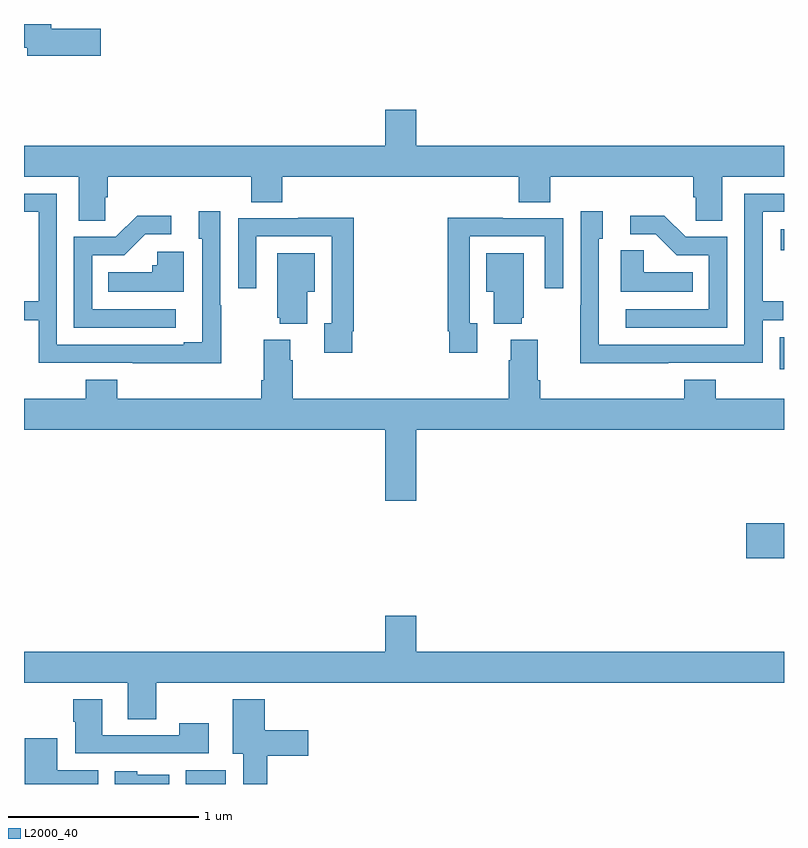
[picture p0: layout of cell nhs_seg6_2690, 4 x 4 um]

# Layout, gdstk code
import gdstk
lib = gdstk.Library(unit=1e-6, precision=1e-09)
def R(c, l, rs):  # rectangles x0, y0, x1, y1
    for r in rs: c.add(gdstk.rectangle(r[:2], r[2:], *l))
def P(c, l, *ps):  # polygons
    for p in ps: c.add(gdstk.Polygon(p, *l))
L2000_40 = (2000, 40)

nhs_seg6_2690 = lib.new_cell('nhs_seg6_2690')
R(nhs_seg6_2690, L2000_40, [(271.85,917.5,272.062,917.572), (274.8,918.689,275,918.872), (274.977,919.683,275,919.851), (274.983,920.309,275,920.419)])
P(nhs_seg6_2690, L2000_40, [(271.405,921.476),(271.144,921.476),(271.144,921.5),(271,921.5),(271,921.376),(271.016,921.376),(271.016,921.334),(271.405,921.334)],
  [(271.428,920.587),(271.442,920.587),(271.442,920.696),(272.195,920.696),(272.195,920.563),(272.36,920.563),(272.36,920.696),(273.605,920.696),(273.605,920.563),(273.77,920.563),(273.77,920.696),(274.523,920.696),(274.523,920.587),(274.536,920.587),(274.536,920.464),(274.675,920.464),(274.675,920.696),(275,920.696),(275,920.86),(273.064,920.86),(273.064,921.049),(272.9,921.049),(272.9,920.86),(271,920.86),(271,920.696),(271.289,920.696),(271.289,920.464),(271.428,920.464)],
  [(274.391,919.716),(274.887,919.716),(274.887,919.941),(274.997,919.941),(274.997,920.042),(274.887,920.042),(274.887,920.511),(275,920.511),(275,920.607),(274.791,920.607),(274.791,919.812),(274.026,919.812),(274.026,920.37),(274.045,920.37),(274.045,920.515),(273.93,920.515),(273.93,920.021),(273.928,920.021),(273.928,919.715),(274.391,919.715)],
  [(272.037,920.021),(272.034,920.021),(272.034,920.515),(271.919,920.515),(271.919,920.37),(271.938,920.37),(271.938,919.825),(271.841,919.825),(271.841,919.812),(271.173,919.812),(271.173,920.607),(271,920.607),(271,920.511),(271.077,920.511),(271.077,920.042),(271,920.042),(271,919.941),(271.077,919.941),(271.077,919.716),(271.573,919.716),(271.573,919.715),(272.037,919.715)],
  [(274.701,920.379),(274.482,920.379),(274.369,920.492),(274.191,920.492),(274.191,920.394),(274.325,920.394),(274.436,920.283),(274.605,920.283),(274.605,919.998),(274.167,919.998),(274.167,919.902),(274.701,919.902)],
  [(271.798,919.998),(271.359,919.998),(271.359,920.283),(271.528,920.283),(271.639,920.394),(271.774,920.394),(271.774,920.492),(271.595,920.492),(271.482,920.379),(271.263,920.379),(271.263,919.902),(271.798,919.902)],
  [(272.728,919.882),(272.735,919.882),(272.735,920.48),(272.443,920.48),(272.443,920.478),(272.127,920.478),(272.127,920.109),(272.223,920.109),(272.223,920.382),(272.619,920.382),(272.619,919.926),(272.579,919.926),(272.579,919.77),(272.728,919.77)],
  [(273.385,919.926),(273.345,919.926),(273.345,920.382),(273.741,920.382),(273.741,920.109),(273.837,920.109),(273.837,920.478),(273.521,920.478),(273.521,920.48),(273.229,920.48),(273.229,919.882),(273.237,919.882),(273.237,919.77),(273.385,919.77)],
  [(274.52,920.194),(274.263,920.194),(274.263,920.309),(274.142,920.309),(274.142,920.09),(274.52,920.09)],
  [(271.84,920.302),(271.701,920.302),(271.701,920.229),(271.675,920.229),(271.675,920.194),(271.444,920.194),(271.444,920.09),(271.84,920.09)],
  [(272.491,920.09),(272.53,920.09),(272.53,920.293),(272.333,920.293),(272.333,919.953),(272.345,919.953),(272.345,919.922),(272.491,919.922)],
  [(273.62,919.953),(273.631,919.953),(273.631,920.293),(273.434,920.293),(273.434,920.09),(273.473,920.09),(273.473,919.922),(273.62,919.922)],
  [(273.064,919.364),(275,919.364),(275,919.528),(274.64,919.528),(274.64,919.627),(274.475,919.627),(274.475,919.528),(273.716,919.528),(273.716,919.624),(273.703,919.624),(273.703,919.837),(273.563,919.837),(273.563,919.73),(273.551,919.73),(273.551,919.528),(272.414,919.528),(272.414,919.73),(272.401,919.73),(272.401,919.837),(272.261,919.837),(272.261,919.624),(272.249,919.624),(272.249,919.528),(271.49,919.528),(271.49,919.627),(271.325,919.627),(271.325,919.528),(271,919.528),(271,919.364),(272.9,919.364),(272.9,918.99),(273.064,918.99)],
  [(271.695,918.032),(275,918.032),(275,918.196),(273.064,918.196),(273.064,918.385),(272.9,918.385),(272.9,918.196),(271,918.196),(271,918.032),(271.547,918.032),(271.547,917.842),(271.695,917.842)],
  [(271.972,917.821),(271.816,917.821),(271.816,917.757),(271.411,917.757),(271.411,917.947),(271.259,917.947),(271.259,917.827),(271.271,917.827),(271.271,917.661),(271.972,917.661)],
  [(272.279,917.648),(272.497,917.648),(272.497,917.782),(272.266,917.782),(272.266,917.947),(272.099,917.947),(272.099,917.66),(272.153,917.66),(272.153,917.5),(272.279,917.5)],
  [(271.39,917.572),(271.174,917.572),(271.174,917.74),(271.004,917.74),(271.004,917.5),(271.39,917.5)],
  [(271.765,917.548),(271.596,917.548),(271.596,917.566),(271.478,917.566),(271.478,917.5),(271.765,917.5)])

lib.write_gds('nhs_seg6_2690.gds')
